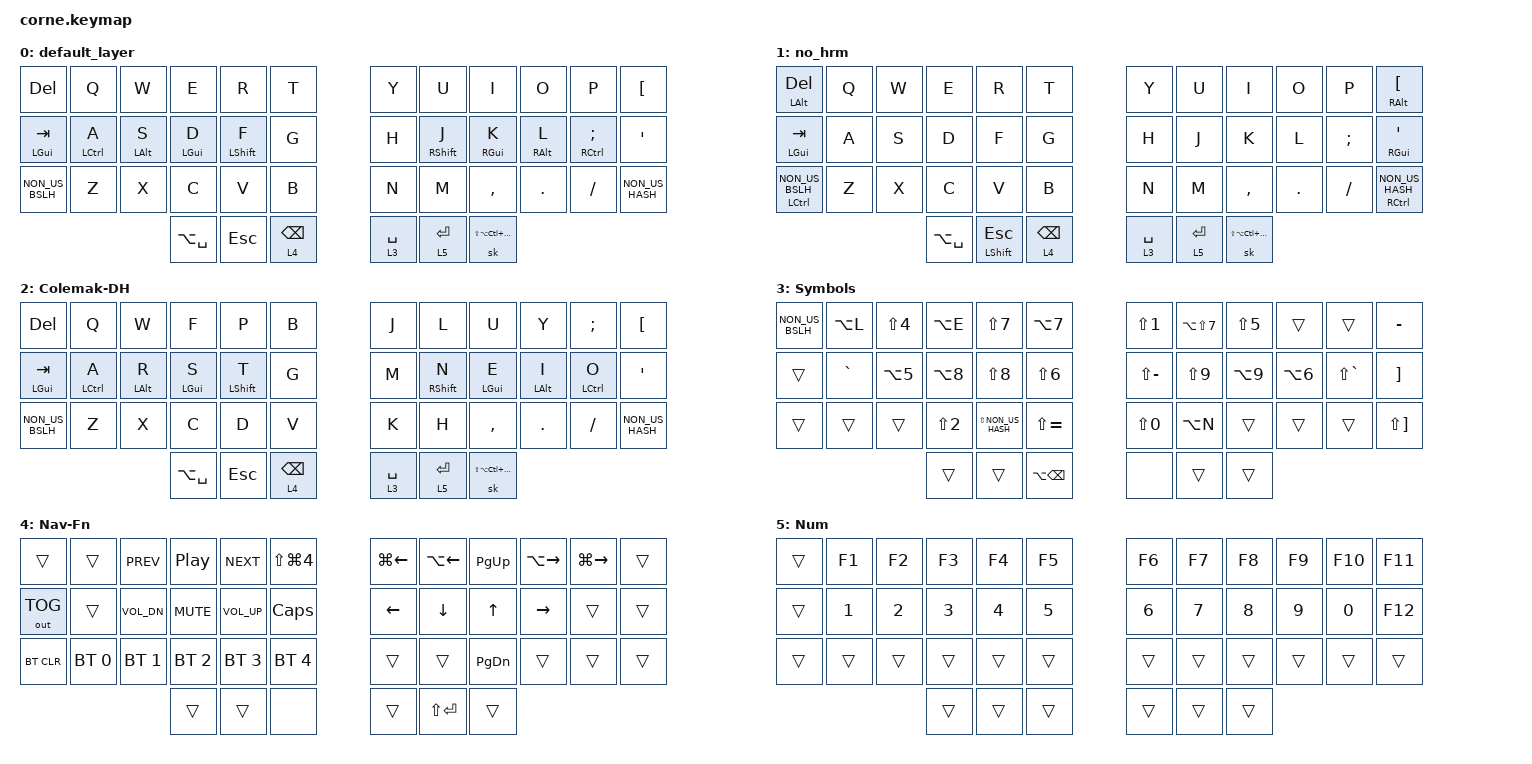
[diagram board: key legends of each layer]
/*
 * Copyright (c) 2020 The ZMK Contributors
 *
 * SPDX-License-Identifier: MIT
 */

#include <behaviors.dtsi>
#include <dt-bindings/zmk/bt.h>
#include <dt-bindings/zmk/keys.h>
#include <dt-bindings/zmk/outputs.h>

&mt {
    tapping-term-ms = <150>;
    flavor = "balanced";
    quick-tap-ms = <250>;
};

&lt {
    tapping-term-ms = <150>;
    quick-tap-ms = <250>;
    flavor = "balanced";
};

&caps_word { continue-list = <UNDERSCORE BACKSPACE DELETE SLASH FSLH>; };

/ {
    behaviors {
        hrm_left: hrm_left {
            compatible = "zmk,behavior-hold-tap";
            #binding-cells = <2>;
            flavor = "balanced";
            tapping-term-ms = <125>;
            quick-tap-ms = <250>;
            bindings = <&kp>, <&kp>;

            label = "HRM_LEFT";
        };

        hrm_right: hrm_right {
            compatible = "zmk,behavior-hold-tap";
            #binding-cells = <2>;
            flavor = "balanced";
            tapping-term-ms = <125>;
            quick-tap-ms = <250>;
            bindings = <&kp>, <&kp>;

            label = "HRM_RIGHT";
        };
    };

    combos {
        compatible = "zmk,combos";

        caps_word {
            bindings = <&caps_word>;
            key-positions = <16 19>;
        };

        to_colemak {
            bindings = <&tog 2>;
            key-positions = <11 35>;
        };

        to_no_hrm {
            bindings = <&tog 1>;
            key-positions = <12 23>;
        };
    };

    keymap {
        compatible = "zmk,keymap";

        default_layer {
            bindings = <
&kp DEL          &kp Q              &kp W             &kp E                 &kp R                   &kp T              &kp Y        &kp U                &kp I                     &kp O              &kp P                  &kp LEFT_BRACKET
&mt LGUI TAB     &hrm_left LCTRL A  &hrm_left LALT S  &hrm_left LEFT_GUI D  &hrm_left LEFT_SHIFT F  &kp G              &kp H        &hrm_right RSHIFT J  &hrm_right RGUI K         &hrm_right RALT L  &hrm_right RCTRL SEMI  &kp SQT
&kp NON_US_BSLH  &kp Z              &kp X             &kp C                 &kp V                   &kp B              &kp N        &kp M                &kp COMMA                 &kp DOT            &kp FSLH               &kp NON_US_HASH
                                                      &kp LA(SPACE)         &kp ESCAPE              &lt 4 BACKSPACE    &lt 3 SPACE  &lt 5 ENTER          &sk LS(LA(LC(LG(RALT))))
            >;
        };

        no_hrm {
            bindings = <
&mt LALT DEL           &kp Q  &kp W  &kp E          &kp R               &kp T              &kp Y        &kp U        &kp I                     &kp O    &kp P     &mt RALT LEFT_BRACKET
&mt LGUI TAB           &kp A  &kp S  &kp D          &kp F               &kp G              &kp H        &kp J        &kp K                     &kp L    &kp SEMI  &mt RGUI SQT
&mt LCTRL NON_US_BSLH  &kp Z  &kp X  &kp C          &kp V               &kp B              &kp N        &kp M        &kp COMMA                 &kp DOT  &kp FSLH  &mt RCTRL NON_US_HASH
                                     &kp LA(SPACE)  &mt LEFT_SHIFT ESC  &lt 4 BACKSPACE    &lt 3 SPACE  &lt 5 ENTER  &sk LS(LA(LC(LG(RALT))))
            >;
        };

        Colemak-DH {
            bindings = <
&kp DEL          &kp Q              &kp W                 &kp F                 &kp P               &kp B              &kp J        &kp L                    &kp U                     &kp Y                 &kp SEMI           &kp LEFT_BRACKET
&mt LGUI TAB     &hrm_left LCTRL A  &hrm_left LEFT_ALT R  &hrm_left LEFT_GUI S  &hrm_left LSHIFT T  &kp G              &kp M        &hrm_left RIGHT_SHIFT N  &hrm_left LEFT_GUI E      &hrm_left LEFT_ALT I  &hrm_left LCTRL O  &kp SQT
&kp NON_US_BSLH  &kp Z              &kp X                 &kp C                 &kp D               &kp V              &kp K        &kp H                    &kp COMMA                 &kp DOT               &kp FSLH           &kp NON_US_HASH
                                                          &kp LA(SPACE)         &kp ESCAPE          &lt 4 BACKSPACE    &lt 3 SPACE  &lt 5 ENTER              &sk LS(LA(LC(LG(RALT))))
            >;
        };

        Symbols {
            bindings = <
&kp NON_US_BSLH  &kp LA(L)  &kp LS(NUMBER_4)  &kp LA(E)         &kp LS(N7)           &kp LA(N7)           &kp LS(NUMBER_1)  &kp LA(LS(N7))  &kp LS(N5)  &trans            &trans         &kp MINUS
&trans           &kp GRAVE  &kp LA(N5)        &kp LA(N8)        &kp LS(N8)           &kp LS(NUMBER_6)     &kp LS(MINUS)     &kp LS(N9)      &kp LA(N9)  &kp LA(NUMBER_6)  &kp LS(GRAVE)  &kp RIGHT_BRACKET
&trans           &trans     &trans            &kp LS(NUMBER_2)  &kp LS(NON_US_HASH)  &kp LS(EQUAL)        &kp LS(N0)        &kp LA(N)       &trans      &trans            &trans         &kp LS(RIGHT_BRACKET)
                                              &trans            &trans               &kp LA(BACKSPACE)    &none             &trans          &trans
            >;
        };

        Nav-Fn {
            bindings = <
&trans        &trans        &kp C_PREV    &kp C_PLAY_PAUSE  &kp C_NEXT       &kp LS(LG(NUMBER_4))    &kp LG(LEFT_ARROW)  &kp LA(LEFT)    &kp PAGE_UP    &kp LA(RIGHT)  &kp LG(RIGHT)  &trans
&out OUT_TOG  &trans        &kp C_VOL_DN  &kp C_MUTE        &kp C_VOLUME_UP  &kp CAPS                &kp LEFT_ARROW      &kp DOWN_ARROW  &kp UP_ARROW   &kp RIGHT      &trans         &trans
&bt BT_CLR    &bt BT_SEL 0  &bt BT_SEL 1  &bt BT_SEL 2      &bt BT_SEL 3     &bt BT_SEL 4            &trans              &trans          &kp PAGE_DOWN  &trans         &trans         &trans
                                          &trans            &trans           &none                   &trans              &kp LS(ENTER)   &trans
            >;
        };

        Num {
            bindings = <
&trans  &kp F1  &kp F2  &kp F3  &kp F4  &kp F5    &kp F6  &kp F7  &kp F8  &kp F9  &kp F10  &kp F11
&trans  &kp N1  &kp N2  &kp N3  &kp N4  &kp N5    &kp N6  &kp N7  &kp N8  &kp N9  &kp N0   &kp F12
&trans  &trans  &trans  &trans  &trans  &trans    &trans  &trans  &trans  &trans  &trans   &trans
                        &trans  &trans  &trans    &trans  &trans  &trans
            >;
        };
    };
};
